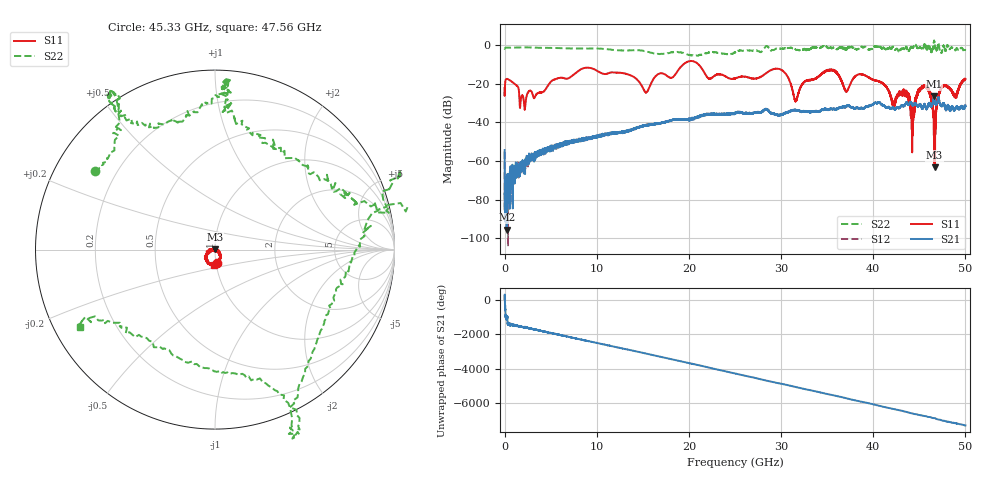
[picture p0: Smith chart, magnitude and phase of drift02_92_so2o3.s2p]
!Created with skrf (http://scikit-rf.org).
# Hz S RI R 50.0
!freq ReS11 ImS11 ReS21 ImS21 ReS12 ImS12 ReS22 ImS22
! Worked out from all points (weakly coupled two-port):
!   10001 points, 300 kHz to 50 GHz, reference 50 ohm
!   highest |S21| = -26.66 dB at 46.61 GHz (marker M1); lowest = -95.6 dB at 225.3 MHz (marker M2)
!   lowest |S11| = -63.3 dB at 46.66 GHz (marker M3), VSWR 1.00, Z = 50 + j0.0675 ohm
!   |S11| at or under -10 dB: start of sweep to 19.43 GHz; 21.00463 GHz to 21.0069 GHz (2.277 MHz wide, 0.0108 % of centre); 21.01 GHz to end of sweep
!   |S22| runs from -5.7 to 2.3 dB; largest |S21 - S12| = 0.0035
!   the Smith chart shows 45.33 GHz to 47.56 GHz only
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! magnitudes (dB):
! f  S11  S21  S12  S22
! 300 kHz  -22.3  -54.4  -55.2  -2.0
! 225.3 MHz  -17.6  -95.6  -70.4  -1.4
! 2.185 GHz  -33.6  -63.4  -60.6  -1.3
! 8.335 GHz  -12.5  -49.2  -49.1  -1.9
! 15.34 GHz  -24.6  -41.5  -41.6  -3.3
! 16.67 GHz  -15.1  -40.7  -40.8  -4.7
! 20.3 GHz  -8.4  -38.5  -38.4  -5.5
! 25 GHz  -17.4  -35.5  -35.4  -3.9
! 29.82 GHz  -12.5  -36.4  -36.5  -2.0
! 31.59 GHz  -28.8  -33.9  -34.0  -2.4
! 33.34 GHz  -18.2  -34.6  -34.6  -1.6
! 35.63 GHz  -13.1  -33.2  -33.1  -1.4
! 37.1 GHz  -24.2  -31.7  -31.6  -2.2
! 38.75 GHz  -15.2  -32.6  -32.7  -1.0
! 41.67 GHz  -23.7  -32.2  -32.2  -2.0
! 43.56 GHz  -25.9  -30.2  -30.1  -1.2
! 44.25 GHz  -37.7  -31.0  -30.8  -1.3
! 45.72 GHz  -21.9  -32.7  -32.8  -1.2
! 46.61 GHz  -40.1  -26.7  -26.6  2.3
! 46.66 GHz  -63.3  -28.4  -28.2  1.0
! 47.49 GHz  -21.5  -30.9  -31.3  -3.1
! 50 GHz  -17.7  -31.8  -31.3  -2.7
